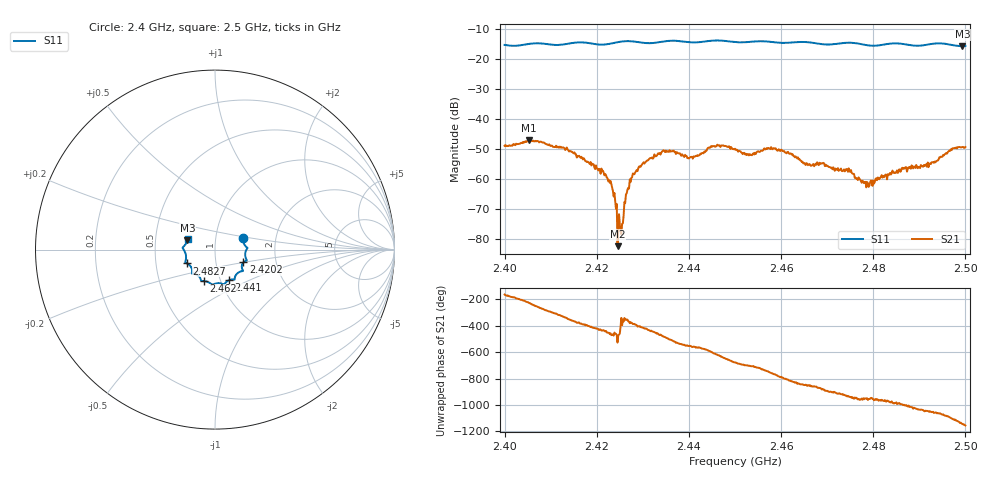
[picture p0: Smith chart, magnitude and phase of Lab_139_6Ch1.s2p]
# Hz S RI R 50
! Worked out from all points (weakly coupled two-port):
!   601 points, 2.4 GHz to 2.5 GHz, reference 50 ohm
!   highest |S21| = -47.06 dB at 2.4053 GHz (marker M1); lowest = -82.2 dB at 2.4245 GHz (marker M2)
!   lowest |S11| = -15.8 dB at 2.4993 GHz (marker M3), VSWR 1.39, Z = 36.5 + j3.86 ohm
!   |S11| at or under -10 dB: start of sweep to end of sweep
!   S12 and S22 are empty: the file has one direction only
!   S11 on the Smith chart (normalised r, x): 2.4 GHz: 1.36, +0.18; 2.4202 GHz: 1.36, -0.20; 2.441 GHz: 1.10, -0.39; 2.462 GHz: 0.84, -0.30; 2.4827 GHz: 0.72, -0.11; 2.5 GHz: 0.73, +0.09
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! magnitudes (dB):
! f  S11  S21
! 2.4 GHz  -15.4  -48.9
! 2.4053 GHz  -15.0  -47.1
! 2.4167 GHz  -14.5  -52.5
! 2.4202 GHz  -15.2  -56.6
! 2.423 GHz  -15.0  -60.6
! 2.4245 GHz  -14.5  -82.2
! 2.425 GHz  -14.4  -75.2
! 2.4255 GHz  -14.2  -74.8
! 2.4267 GHz  -14.1  -63.4
! 2.428 GHz  -14.3  -58.3
! 2.4333 GHz  -14.5  -51.4
! 2.441 GHz  -14.6  -52.4
! 2.4457 GHz  -13.9  -49.2
! 2.45 GHz  -14.4  -49.9
! 2.462 GHz  -14.6  -51.5
! 2.4667 GHz  -14.6  -55.4
! 2.4747 GHz  -14.7  -56.4
! 2.4787 GHz  -15.5  -60.9
! 2.4827 GHz  -15.2  -58.5
! 2.4833 GHz  -15.0  -58.5
! 2.4993 GHz  -15.8  -49.3
! 2.5 GHz  -15.7  -49.3
